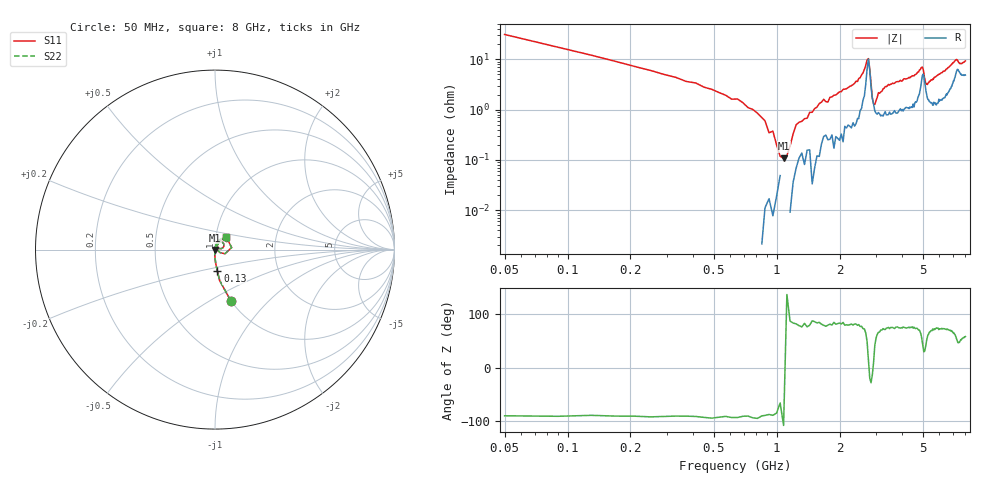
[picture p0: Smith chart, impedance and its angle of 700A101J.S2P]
!  American Technical Ceramics  Date:  3/13/98
!  One Norden Lane
!  Huntington Station,  NY.  11746-2102
!  Tel:  (516) 547-5700  Fax:  (516) 547-5748
!  Part Number  700A101J
!  Description: Porcelain, High Q, Low ESR
!  Application: Bypass, Coupling, Timing, Feedback
!  Tuning, Impedance Match, Blocking
# GHZ S DB R 50
! Freq  |S11|  S11 Ph  |S21|  S21 Ph  |S12|  S12 Ph  |S22|  S22 Ph
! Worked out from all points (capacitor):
!   201 points, 50 MHz to 8 GHz, reference 50 ohm
!   read as one part in series: C = 101 pF near 90 MHz
!   lowest |Z| = 108 mohm at 1.08 GHz (marker M1)
!   series resonance near 1.102 GHz, so ESL is about 210 pH
!   S11 on the Smith chart (normalised r, x): 50 MHz: 1.00, -0.62; 130 MHz: 1.00, -0.24; 8 GHz: 1.12, +0.16
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0.05  -10.55 -72.9  -0.45 17.3  -0.45 17.3  -10.55 -72.9
0.13  -18.37 -83.8  -0.12 6.8  -0.12 6.8  -18.37 -83.8
0.37  -28.34 -91.1  -0.02 2.0  -0.02 2.0  -28.34 -91.1
0.88  -41.69 -96.0  -0.01 0.2  -0.01 0.2  -41.69 -96.0
1.08  -52.08 -105.2  0.00 -0.0  0.00 -0.0  -52.08 -105.2
1.16  -67.13 -65.5  0.00 -0.2  0.00 -0.2  -67.13 -65.5
1.24  -53.85 83.1  -0.01 -0.5  -0.01 -0.5  -53.85 83.1
1.4  -44.93 81.0  -0.02 -0.4  -0.02 -0.4  -44.93 81.0
1.68  -37.88 82.8  -0.04 -1.1  -0.04 -1.1  -37.88 82.8
2.44  -29.09 74.4  -0.05 -2.1  -0.05 -2.1  -29.09 74.4
2.71  -20.87 40.2  -0.53 -4.3  -0.53 -4.3  -20.87 40.2
2.75  -20.60 7.0  -0.83 -1.7  -0.83 -1.7  -20.60 7.0
2.87  -34.84 -19.9  -0.14 0.1  -0.14 0.1  -34.84 -19.9
2.95  -38.12 30.4  -0.07 -0.6  -0.07 -0.6  -38.12 30.4
3.27  -32.01 65.2  -0.06 -1.6  -0.06 -1.6  -32.01 65.2
4.03  -29.34 66.5  -0.06 -2.5  -0.06 -2.5  -29.34 66.5
4.98  -24.66 33.7  -0.40 -3.7  -0.40 -3.7  -24.66 33.7
5.18  -32.84 19.6  -0.22 -2.0  -0.22 -2.0  -32.84 19.6
5.38  -32.86 49.9  -0.13 -2.8  -0.13 -2.8  -32.86 49.9
6.69  -24.64 59.6  -0.19 -4.5  -0.19 -4.5  -24.64 59.6
7.24  -20.92 41.7  -0.42 -5.2  -0.42 -5.2  -20.92 41.7
8  -20.54 47.4  -0.33 -4.4  -0.33 -4.4  -20.54 47.4
